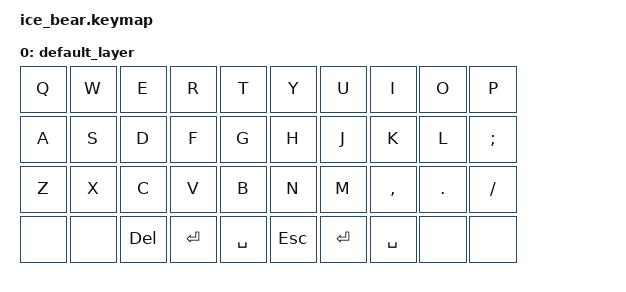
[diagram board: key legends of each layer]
#include <behaviors.dtsi>
#include <dt-bindings/zmk/keys.h>

#define XXX &none
/ {
    keymap {
        compatible = "zmk,keymap";

        default_layer {
            bindings = <
    &kp Q    &kp W    &kp E     &kp R     &kp T      &kp Y     &kp U     &kp I     &kp O     &kp P
    &kp A    &kp S    &kp D     &kp F     &kp G      &kp H     &kp J     &kp K     &kp L     &kp SEMI
    &kp Z    &kp X    &kp C     &kp V     &kp B      &kp N     &kp M     &kp COMMA &kp DOT   &kp FSLH
    XXX      XXX      &kp DEL   &kp RET   &kp SPACE  &kp ESC   &kp RET   &kp SPACE XXX       XXX
            >;
        };
    };
};
